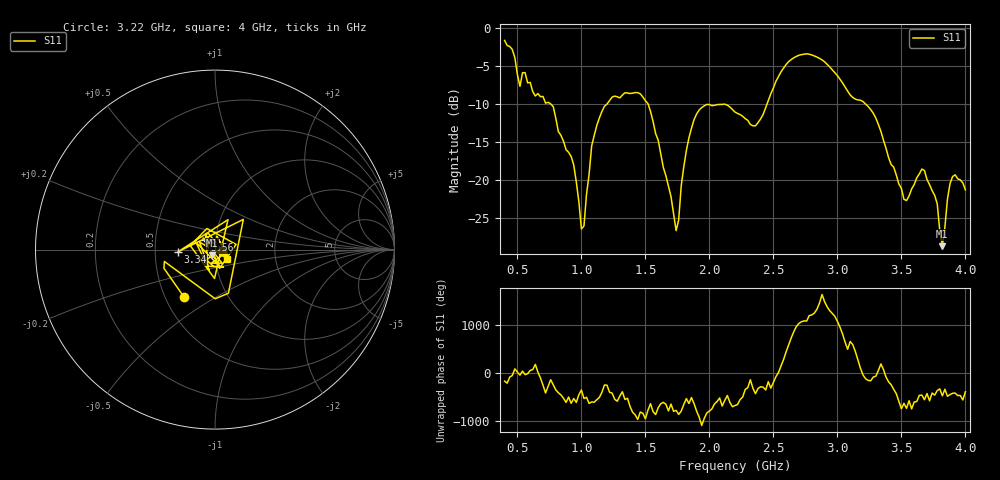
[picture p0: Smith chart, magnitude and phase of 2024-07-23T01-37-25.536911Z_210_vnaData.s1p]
!Created with skrf (http://scikit-rf.org).
# Hz S RI R 50.0
!freq ReS11 ImS11
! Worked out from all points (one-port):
!   181 points, 400 MHz to 4 GHz, reference 50 ohm
!   lowest |S11| = -28.7 dB at 3.82 GHz (marker M1), VSWR 1.08, Z = 48.1 - j3.02 ohm
!   |S11| at or under -10 dB: 757.9 MHz to 1.202 GHz (443.8 MHz wide, 45.3 % of centre); 1.52 GHz to 2.451 GHz (930.7 MHz wide, 46.9 % of centre); 3.217 GHz to end of sweep
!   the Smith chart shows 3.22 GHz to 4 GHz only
!   S11 on the Smith chart (normalised r, x): 3.22 GHz: 0.62, -0.36; 3.34 GHz: 0.66, -0.02; 3.56 GHz: 0.88, +0.09; 4 GHz: 1.14, -0.12
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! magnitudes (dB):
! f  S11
! 400 MHz  -1.7
! 520 MHz  -7.7
! 560 MHz  -5.9
! 780 MHz  -10.4
! 860 MHz  -14.9
! 940 MHz  -18.0
! 1 GHz  -26.5
! 1.12 GHz  -12.9
! 1.3 GHz  -9.2
! 1.52 GHz  -10.0
! 1.74 GHz  -26.7
! 1.76 GHz  -25.3
! 1.82 GHz  -16.2
! 1.9 GHz  -11.4
! 2.2 GHz  -11.1
! 2.36 GHz  -12.9
! 2.66 GHz  -4.0
! 2.88 GHz  -4.2
! 3.1 GHz  -8.8
! 3.22 GHz  -10.0
! 3.34 GHz  -13.6
! 3.52 GHz  -22.6
! 3.56 GHz  -22.1
! 3.68 GHz  -18.8
! 3.78 GHz  -23.2
! 3.82 GHz  -28.7
! 3.9 GHz  -19.6
! 4 GHz  -21.3
